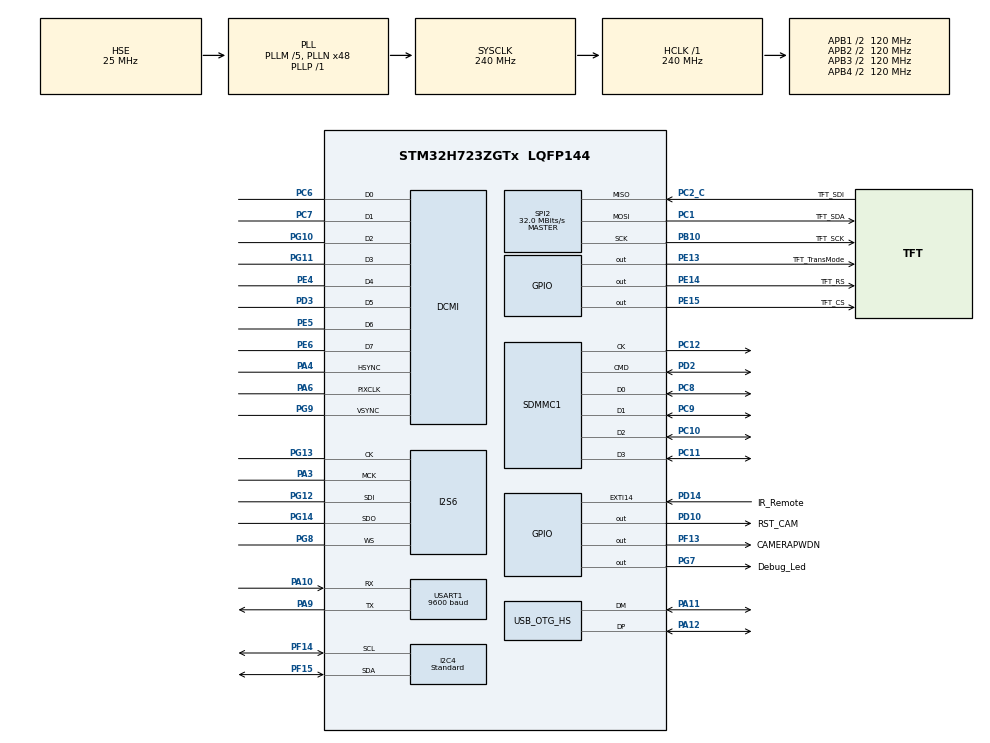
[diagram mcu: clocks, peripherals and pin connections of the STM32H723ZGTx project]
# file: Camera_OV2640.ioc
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Bdma.Request0=SPI6_TX
Bdma.RequestsNb=1
Bdma.SPI6_TX.0.Direction=DMA_MEMORY_TO_PERIPH
Bdma.SPI6_TX.0.EventEnable=DISABLE
Bdma.SPI6_TX.0.Instance=BDMA_Channel0
Bdma.SPI6_TX.0.MemDataAlignment=DMA_MDATAALIGN_HALFWORD
Bdma.SPI6_TX.0.MemInc=DMA_MINC_ENABLE
Bdma.SPI6_TX.0.Mode=DMA_CIRCULAR
Bdma.SPI6_TX.0.PeriphDataAlignment=DMA_PDATAALIGN_HALFWORD
Bdma.SPI6_TX.0.PeriphInc=DMA_PINC_DISABLE
Bdma.SPI6_TX.0.Polarity=HAL_DMAMUX_REQ_GEN_RISING
Bdma.SPI6_TX.0.Priority=DMA_PRIORITY_LOW
Bdma.SPI6_TX.0.RequestNumber=1
Bdma.SPI6_TX.0.SignalID=NONE
Bdma.SPI6_TX.0.SyncEnable=DISABLE
Bdma.SPI6_TX.0.SyncPolarity=HAL_DMAMUX_SYNC_NO_EVENT
Bdma.SPI6_TX.0.SyncRequestNumber=1
Bdma.SPI6_TX.0.SyncSignalID=NONE
CORTEX_M7.default_mode_Activation=1
DCMI.ByteSelectMode=DCMI_BSM_ALL
DCMI.CaptureRate=DCMI_CR_ALL_FRAME
DCMI.HSPolarity=DCMI_HSPOLARITY_LOW
DCMI.PCKPolarity=DCMI_PCKPOLARITY_RISING
DCMI.VSPolarity=DCMI_VSPOLARITY_LOW
Dma.DCMI.2.Direction=DMA_PERIPH_TO_MEMORY
Dma.DCMI.2.EventEnable=DISABLE
Dma.DCMI.2.FIFOMode=DMA_FIFOMODE_ENABLE
Dma.DCMI.2.FIFOThreshold=DMA_FIFO_THRESHOLD_FULL
Dma.DCMI.2.Instance=DMA1_Stream1
Dma.DCMI.2.MemBurst=DMA_MBURST_SINGLE
Dma.DCMI.2.MemDataAlignment=DMA_MDATAALIGN_WORD
Dma.DCMI.2.MemInc=DMA_MINC_ENABLE
Dma.DCMI.2.Mode=DMA_NORMAL
Dma.DCMI.2.PeriphBurst=DMA_PBURST_SINGLE
Dma.DCMI.2.PeriphDataAlignment=DMA_PDATAALIGN_WORD
Dma.DCMI.2.PeriphInc=DMA_PINC_DISABLE
Dma.DCMI.2.Polarity=HAL_DMAMUX_REQ_GEN_RISING
Dma.DCMI.2.Priority=DMA_PRIORITY_LOW
Dma.DCMI.2.RequestNumber=1
Dma.DCMI.2.SignalID=NONE
Dma.DCMI.2.SyncEnable=DISABLE
Dma.DCMI.2.SyncPolarity=HAL_DMAMUX_SYNC_NO_EVENT
Dma.DCMI.2.SyncRequestNumber=1
Dma.DCMI.2.SyncSignalID=NONE
Dma.Request0=SPI2_TX
Dma.Request1=USART1_RX
Dma.Request2=DCMI
Dma.SPI2_TX.0.Direction=DMA_MEMORY_TO_PERIPH
Dma.SPI2_TX.0.EventEnable=DISABLE
Dma.SPI2_TX.0.FIFOMode=DMA_FIFOMODE_DISABLE
Dma.SPI2_TX.0.Instance=DMA1_Stream3
Dma.SPI2_TX.0.MemDataAlignment=DMA_MDATAALIGN_BYTE
Dma.SPI2_TX.0.MemInc=DMA_MINC_ENABLE
Dma.SPI2_TX.0.Mode=DMA_NORMAL
Dma.SPI2_TX.0.PeriphDataAlignment=DMA_PDATAALIGN_BYTE
Dma.SPI2_TX.0.PeriphInc=DMA_PINC_DISABLE
Dma.SPI2_TX.0.Polarity=HAL_DMAMUX_REQ_GEN_RISING
Dma.SPI2_TX.0.Priority=DMA_PRIORITY_VERY_HIGH
Dma.SPI2_TX.0.RequestNumber=1
Dma.SPI2_TX.0.SignalID=NONE
Dma.SPI2_TX.0.SyncEnable=DISABLE
Dma.SPI2_TX.0.SyncPolarity=HAL_DMAMUX_SYNC_NO_EVENT
Dma.SPI2_TX.0.SyncRequestNumber=1
Dma.SPI2_TX.0.SyncSignalID=NONE
Dma.USART1_RX.1.Direction=DMA_PERIPH_TO_MEMORY
Dma.USART1_RX.1.EventEnable=DISABLE
Dma.USART1_RX.1.FIFOMode=DMA_FIFOMODE_DISABLE
Dma.USART1_RX.1.Instance=DMA1_Stream0
Dma.USART1_RX.1.MemDataAlignment=DMA_MDATAALIGN_BYTE
Dma.USART1_RX.1.MemInc=DMA_MINC_ENABLE
Dma.USART1_RX.1.Mode=DMA_NORMAL
Dma.USART1_RX.1.PeriphDataAlignment=DMA_PDATAALIGN_BYTE
Dma.USART1_RX.1.PeriphInc=DMA_PINC_DISABLE
Dma.USART1_RX.1.Polarity=HAL_DMAMUX_REQ_GEN_RISING
Dma.USART1_RX.1.Priority=DMA_PRIORITY_LOW
Dma.USART1_RX.1.RequestNumber=1
Dma.USART1_RX.1.SignalID=NONE
Dma.USART1_RX.1.SyncEnable=DISABLE
Dma.USART1_RX.1.SyncPolarity=HAL_DMAMUX_SYNC_NO_EVENT
Dma.USART1_RX.1.SyncRequestNumber=1
Dma.USART1_RX.1.SyncSignalID=NONE
FATFS._FS_TIMEOUT=0x2710
FATFS._MAX_SS=4096
FATFS._MULTI_PARTITION=0
FATFS._USE_CHMOD=0
FATFS._USE_LABEL=1
FATFS._USE_LFN=3
I2C4.Analog_Filter=I2C_ANALOGFILTER_ENABLE
I2C4.I2C_Fall_Time=2
I2C4.I2C_Rise_Time=2
I2C4.I2C_Speed_Mode=I2C_Standard
I2C4.Speed=100
I2C4.Timing=0x307075B1
I2S6.AudioFreq=I2S_AUDIOFREQ_16K
I2S6.ErrorAudioFreq=1.01 %
I2S6.Instance=SPI$Index
I2S6.RealAudioFreq=16.163 KHz
Mcu.Family=STM32H7
Mcu.Name=STM32H723ZGTx
Mcu.Package=LQFP144
NVIC.BDMA_Channel0_IRQn=true\:0\:0\:true\:false\:true\:false\:true\:true
NVIC.DCMI_PSSI_IRQn=true\:0\:0\:true\:false\:true\:true\:true\:true
NVIC.DMA1_Stream0_IRQn=true\:0\:0\:false\:false\:true\:false\:true\:true
NVIC.DMA1_Stream1_IRQn=true\:0\:0\:true\:false\:true\:false\:true\:true
NVIC.DMA1_Stream3_IRQn=true\:0\:0\:true\:false\:true\:false\:true\:true
NVIC.EXTI15_10_IRQn=true\:0\:0\:true\:false\:true\:true\:true\:true
NVIC.OTG_HS_IRQn=true\:0\:0\:false\:false\:true\:false\:true\:true
NVIC.PriorityGroup=NVIC_PRIORITYGROUP_4
NVIC.SDMMC1_IRQn=true\:0\:0\:true\:false\:true\:true\:true\:true
NVIC.SPI2_IRQn=true\:0\:0\:true\:false\:true\:false\:true\:true
NVIC.USART1_IRQn=true\:0\:0\:false\:false\:true\:true\:true\:true
PA10.Mode=Asynchronous
PA10.Signal=USART1_RX
PA11.Mode=Device_Only_FS
PA11.Signal=USB_OTG_HS_DM
PA12.Mode=Device_Only_FS
PA12.Signal=USB_OTG_HS_DP
PA13(JTMS/SWDIO).Mode=Serial_Wire
PA13(JTMS/SWDIO).Signal=DEBUG_JTMS-SWDIO
PA14(JTCK/SWCLK).Mode=Serial_Wire
PA14(JTCK/SWCLK).Signal=DEBUG_JTCK-SWCLK
PA3.Mode=Master_Clock_Activated
PA3.Signal=I2S6_MCK
PA4.GPIO_PuPd=GPIO_PULLUP
PA4.GPIO_Speed=GPIO_SPEED_FREQ_VERY_HIGH
PA4.Mode=Slave_8_bits_External_Synchro
PA4.Signal=DCMI_HSYNC
PA6.GPIO_PuPd=GPIO_PULLUP
PA6.GPIO_Speed=GPIO_SPEED_FREQ_VERY_HIGH
PA6.Mode=Slave_8_bits_External_Synchro
PA6.Signal=DCMI_PIXCLK
PA9.Mode=Asynchronous
PA9.Signal=USART1_TX
PB10.GPIO_Label=TFT_SCK
PB10.Mode=Full_Duplex_Master
PB10.Signal=SPI2_SCK
PC1.GPIO_Label=TFT_SDA
PC1.Mode=Full_Duplex_Master
PC1.Signal=SPI2_MOSI
PC10.Mode=SD_4_bits_Wide_bus
PC10.Signal=SDMMC1_D2
PC11.Mode=SD_4_bits_Wide_bus
PC11.Signal=SDMMC1_D3
PC12.Mode=SD_4_bits_Wide_bus
PC12.Signal=SDMMC1_CK
PC2_C.GPIO_Label=TFT_SDI
PC2_C.Mode=Full_Duplex_Master
PC2_C.Signal=SPI2_MISO
PC6.GPIO_PuPd=GPIO_PULLUP
PC6.GPIO_Speed=GPIO_SPEED_FREQ_VERY_HIGH
PC6.Mode=Slave_8_bits_External_Synchro
PC6.Signal=DCMI_D0
PC7.GPIO_PuPd=GPIO_PULLUP
PC7.GPIO_Speed=GPIO_SPEED_FREQ_VERY_HIGH
PC7.Mode=Slave_8_bits_External_Synchro
PC7.Signal=DCMI_D1
PC8.Mode=SD_4_bits_Wide_bus
PC8.Signal=SDMMC1_D0
PC9.Mode=SD_4_bits_Wide_bus
PC9.Signal=SDMMC1_D1
PD10.GPIO_Label=RST_CAM
PD10.GPIO_PuPd=GPIO_PULLUP
PD10.PinState=GPIO_PIN_SET
PD10.Signal=GPIO_Output
PD14.GPIO_Label=IR_Remote
PD14.GPIO_ModeDefaultEXTI=GPIO_MODE_IT_FALLING
PD14.GPIO_PuPd=GPIO_PULLUP
PD14.Signal=GPXTI14
PD2.Mode=SD_4_bits_Wide_bus
PD2.Signal=SDMMC1_CMD
PD3.GPIO_PuPd=GPIO_PULLUP
PD3.GPIO_Speed=GPIO_SPEED_FREQ_VERY_HIGH
PD3.Mode=Slave_8_bits_External_Synchro
PD3.Signal=DCMI_D5
PE13.GPIO_Label=TFT_TransMode
PE13.Signal=GPIO_Output
PE14.GPIO_Label=TFT_RS
PE14.Signal=GPIO_Output
PE15.GPIO_Label=TFT_CS
PE15.Signal=GPIO_Output
PE4.GPIO_PuPd=GPIO_PULLUP
PE4.GPIO_Speed=GPIO_SPEED_FREQ_VERY_HIGH
PE4.Mode=Slave_8_bits_External_Synchro
PE4.Signal=DCMI_D4
PE5.GPIO_PuPd=GPIO_PULLUP
PE5.GPIO_Speed=GPIO_SPEED_FREQ_VERY_HIGH
PE5.Mode=Slave_8_bits_External_Synchro
PE5.Signal=DCMI_D6
PE6.GPIO_PuPd=GPIO_PULLUP
PE6.GPIO_Speed=GPIO_SPEED_FREQ_VERY_HIGH
PE6.Mode=Slave_8_bits_External_Synchro
PE6.Signal=DCMI_D7
PF13.GPIO_Label=CAMERAPWDN
PF13.PinState=GPIO_PIN_RESET
PF13.Signal=GPIO_Output
PF14.GPIO_Pu=GPIO_PULLUP
PF14.GPIO_Speed=GPIO_SPEED_FREQ_VERY_HIGH
PF14.Mode=I2C
PF14.Signal=I2C4_SCL
PF15.GPIO_Pu=GPIO_PULLUP
PF15.GPIO_Speed=GPIO_SPEED_FREQ_VERY_HIGH
PF15.Mode=I2C
PF15.Signal=I2C4_SDA
PG10.GPIO_PuPd=GPIO_PULLUP
PG10.GPIO_Speed=GPIO_SPEED_FREQ_VERY_HIGH
PG10.Mode=Slave_8_bits_External_Synchro
PG10.Signal=DCMI_D2
PG11.GPIO_PuPd=GPIO_PULLUP
PG11.GPIO_Speed=GPIO_SPEED_FREQ_VERY_HIGH
PG11.Mode=Slave_8_bits_External_Synchro
PG11.Signal=DCMI_D3
PG12.Mode=Full_Duplex_Master
PG12.Signal=I2S6_SDI
PG13.Mode=Full_Duplex_Master
PG13.Signal=I2S6_CK
PG14.Mode=Full_Duplex_Master
PG14.Signal=I2S6_SDO
PG7.GPIO_Label=Debug_Led
PG7.Signal=GPIO_Output
PG8.Mode=Full_Duplex_Master
PG8.Signal=I2S6_WS
PG9.GPIO_PuPd=GPIO_PULLUP
PG9.GPIO_Speed=GPIO_SPEED_FREQ_VERY_HIGH
PG9.Mode=Slave_8_bits_External_Synchro
PG9.Signal=DCMI_VSYNC
PH0-OSC_IN.Mode=HSE-External-Oscillator
PH0-OSC_IN.Signal=RCC_OSC_IN
PH1-OSC_OUT.Mode=HSE-External-Oscillator
PH1-OSC_OUT.Signal=RCC_OSC_OUT
ProjectManager.HeapSize=0x200
ProjectManager.StackSize=0x400
ProjectManager.TargetToolchain=STM32CubeIDE
RCC.ADCFreq_Value=25000000
RCC.APB1Freq_Value=120000000
RCC.APB2Freq_Value=120000000
RCC.APB3Freq_Value=120000000
RCC.APB4Freq_Value=120000000
RCC.CortexFreq_Value=240000000
RCC.D1PPRE=RCC_APB3_DIV2
RCC.D2PPRE1=RCC_APB1_DIV2
RCC.D2PPRE2=RCC_APB2_DIV2
RCC.D3PPRE=RCC_APB4_DIV2
RCC.DIVM1=5
RCC.DIVM2=4
RCC.DIVM3=4
RCC.DIVN1=48
RCC.DIVN2=12
RCC.DIVN3=12
RCC.DIVP1=1
RCC.DIVP2=3
RCC.DIVP3=1
RCC.DIVQ1=5
RCC.DIVR2=1
RCC.HCLKFreq_Value=240000000
RCC.PLL2FRACN=0
RCC.PLL3FRACN=0
RCC.PLLFRACN=0
RCC.SPI123CLockSelection=RCC_SPI123CLKSOURCE_CLKP
RCC.SYSCLKFreq_VALUE=240000000
RCC.SYSCLKSource=RCC_SYSCLKSOURCE_PLLCLK
RCC.USBFreq_Value=48000000
SDMMC1.ClockDiv=2
SDMMC1.HardwareFlowControl=SDMMC_HARDWARE_FLOW_CONTROL_ENABLE
SDMMC1.TransceiverPresent=SDMMC_TRANSCEIVER_NOT_PRESENT
SPI2.BaudRatePrescaler=SPI_BAUDRATEPRESCALER_2
SPI2.CalculateBaudRate=32.0 MBits/s
SPI2.DataSize=SPI_DATASIZE_8BIT
SPI2.Direction=SPI_DIRECTION_2LINES
SPI2.FirstBit=SPI_FIRSTBIT_MSB
SPI2.Mode=SPI_MODE_MASTER
SPI2.NSSPMode=SPI_NSS_PULSE_DISABLE
SPI2.VirtualType=VM_MASTER
STMicroelectronics.X-CUBE-AI.10.2.0.HeapSize=0x800
STMicroelectronics.X-CUBE-AI.10.2.0.ReadyForCodeGeneration=false
STMicroelectronics.X-CUBE-AI.10.2.0.StackSize=0x800
TIM4.Prescaler=216
USART1.BaudRate=9600
USART1.VirtualMode-Asynchronous=VM_ASYNC
USB_DEVICE.CLASS_NAME_HS=CDC
USB_DEVICE.VirtualMode=Cdc
USB_DEVICE.VirtualModeHS=Cdc_HS
USB_OTG_HS.VirtualMode-Device_Only_FS=Device_Only_FS
VP_FATFS_VS_Generic.Mode=User_defined
VP_FATFS_VS_SDIO.Mode=SDIO
VP_MEMORYMAP_VS_MEMORYMAP.Mode=CurAppReg
VP_TIM4_VS_ClockSourceINT.Mode=Internal
VP_USB_DEVICE_VS_USB_DEVICE_CDC_HS.Mode=CDC_HS
board=custom

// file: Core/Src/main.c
/* USER CODE BEGIN Header */
/**
 ******************************************************************************
 * @file           : main.c
 * @brief          : Main program body
 ******************************************************************************
 * @attention
 *
 * Copyright (c) 2025 STMicroelectronics.
 * All rights reserved.
 *
 * This software is licensed under terms that can be found in the LICENSE file
 * in the root directory of this software component.
 * If no LICENSE file comes with this software, it is provided AS-IS.
 *
 ******************************************************************************
 */
/* USER CODE END Header */
#include "main.h"
#include "fatfs.h"
#include "usb_device.h"

/* USER CODE BEGIN Includes */
#include "display.h"
//#include "jpeg_lcd.h"
#include "sdio_benchmark.h"
#include "sdio_functions.h"
#include "wav_player.h"
#include "itr.h"
#include "ov2640.h"
#include "usbd_cdc_if.h"
/* USER CODE END Includes */

DCMI_HandleTypeDef hdcmi;
DMA_HandleTypeDef hdma_dcmi;

I2C_HandleTypeDef hi2c4;

I2S_HandleTypeDef hi2s6;
DMA_HandleTypeDef hdma_spi6_tx;

SD_HandleTypeDef hsd1;

SPI_HandleTypeDef hspi2;
DMA_HandleTypeDef hdma_spi2_tx;

TIM_HandleTypeDef htim4;

UART_HandleTypeDef huart1;
DMA_HandleTypeDef hdma_usart1_rx;

/* USER CODE BEGIN PV */
//For File browser and UART
uint8_t firmware_data[1024];
volatile uint8_t FileSelection = 0;
SDFile_Info FileListTree;
SDFile_Info *Current_Page;
//For image display
UINT br;
uint8_t image_id = 0;
volatile uint8_t IsPlayingContent = 0;
char path[256];
char SDFullName[256];
//For IR Remote control
uint32_t tempCode;
uint8_t bitIndex;
uint8_t cmd;
uint8_t cmdli;
uint32_t code;

extern volatile uint16_t FrameBuff[240][320];
//extern uint16_t FrameBuffB[240][320];
extern uint8_t Jpeg_frame[32768];
/* USER CODE END PV */

void SystemClock_Config(void);
void PeriphCommonClock_Config(void);
static void MPU_Config(void);
static void MX_GPIO_Init(void);
static void MX_DMA_Init(void);
static void MX_BDMA_Init(void);
static void MX_SPI2_Init(void);
static void MX_USART1_UART_Init(void);
static void MX_I2S6_Init(void);
static void MX_TIM4_Init(void);
static void MX_SDMMC1_SD_Init(void);
static void MX_DCMI_Init(void);
static void MX_I2C4_Init(void);
/* USER CODE BEGIN PFP */
static void IR_Control(uint32_t Ir_code);
/* USER CODE END PFP */

/* USER CODE BEGIN 0 */

int _write(int fd, unsigned char *buf, int len) {
	if (fd == 1 || fd == 2) {                              // stdout or stderr ?
		HAL_UART_Transmit(&huart1, buf, len, 999); // Print to the UART
	}
	return len;
}

// GPIO EXTI callbacks
void HAL_GPIO_EXTI_Callback(uint16_t GPIO_Pin) {
	UNUSED(GPIO_Pin);
	if (GPIO_Pin == IR_Remote_Pin) {
		if (__HAL_TIM_GET_COUNTER(&htim4) > 8000) {
			tempCode = 0;
			bitIndex = 0;
		} else if (__HAL_TIM_GET_COUNTER(&htim4) > 1700) {
			tempCode |= (1UL << (31 - bitIndex)); // write 1
			bitIndex++;
		} else if (__HAL_TIM_GET_COUNTER(&htim4) > 1000) {
			tempCode &= ~(1UL << (31 - bitIndex)); // write 0
			bitIndex++;
		}
		if (bitIndex == 32) {
			cmdli = ~tempCode;   // Logical inverted last 8 bits
			cmd = tempCode >> 8; // Second last 8 bits
			if (cmdli == cmd)    // Check for errors
					{
				code = tempCode; // If no bit errors
				// Do your main work HERE
				IR_Control(code);
			}
			bitIndex = 0;
		}
		__HAL_TIM_SET_COUNTER(&htim4, 0);
	}
}
// UART callbacks
void HAL_UARTEx_RxEventCallback(UART_HandleTypeDef *huart, uint16_t Size) {
	memset(firmware_data, 0, 1024);
	HAL_UARTEx_ReceiveToIdle_IT(&huart1, firmware_data, 1024);
}
volatile uint8_t done_flag = 0 ;
uint32_t line_cnt = 0;
void HAL_DCMI_VsyncEventCallback(DCMI_HandleTypeDef *hdcmi)
{
    /* Disable DCMI Camera interface */
	printf("Frame captured in vsync!\n");
	done_flag = 1;
	//HAL_DCMI_Suspend(&hdcmi);
	//LCD_DrawPixData(0, 0, 320, 240, FrameBuff);
	//HAL_DCMI_Resume(&hdcmi);
//    HAL_DCMI_Stop(&hdcmi);
    //LCD_DrawPixData(0, 0, 320, 240, FrameBuff);
    //HAL_DCMI_Start_DMA(&hdcmi, DCMI_MODE_SNAPSHOT, FrameBuff, 320*(240)/2);
}
void HAL_DCMI_FrameEventCallback(DCMI_HandleTypeDef *hdcmi) {
    printf("Frame captured!\n");

//    HAL_DCMI_Stop(&hdcmi);
//    memcpy(FrameBuff,FrameBuffB,sizeof(FrameBuffB));
   // LCD_DrawPixData(0, 0, 320, 240, FrameBuff);

    //HAL_DCMI_Start_DMA(&hdcmi, DCMI_MODE_CONTINUOUS, FrameBuff, 320*(240)/2);
    line_cnt = 0;
}
void HAL_DCMI_LineEventCallback(DCMI_HandleTypeDef *hdcmi){
	line_cnt++;
}
/* USER CODE END 0 */

int main(void)
{

  /* USER CODE BEGIN 1 */
	FIL video_f;

  /* USER CODE END 1 */

  /* MPU Configuration--------------------------------------------------------*/
  MPU_Config();

  /* MCU Configuration--------------------------------------------------------*/

  /* Reset of all peripherals, Initializes the Flash interface and the Systick. */
  HAL_Init();

  /* Configure the system clock */
  SystemClock_Config();

  /* Configure the peripherals common clocks */
  PeriphCommonClock_Config();

  /* Initialize all configured peripherals */
  MX_GPIO_Init();
  MX_DMA_Init();
  MX_BDMA_Init();
  MX_FATFS_Init();
  MX_SPI2_Init();
  MX_USART1_UART_Init();
  MX_I2S6_Init();
  MX_TIM4_Init();
  MX_SDMMC1_SD_Init();
  MX_DCMI_Init();
  MX_I2C4_Init();
  MX_USB_DEVICE_Init();
  /* USER CODE BEGIN 2 */
	// System peripheral
	for(int i = 0;i < 240;i++){
		memset(FrameBuff[i],0,320*2);
	}
//	HAL_TIM_Base_Start(&htim4);
//	__HAL_TIM_SET_COUNTER(&htim4, 0);
//	HAL_UARTEx_ReceiveToIdle_IT(&huart1, firmware_data, 1024);
	// User playground
	// For display
    uint16_t* p_lcdData = FrameBuff;

    HAL_Delay(3000);

	LCD_Init(&hspi2, &IsPlayingContent, 1);
	LCD_AdjustGamma();
	LCD_FillScreen(0x0000, 320, 240);
	Itr_InitSPICBFunc(LCD_SPI_TxCpltCb, LCD_SPI_TxRxCpltCb);

	// Camera OV2640
    ov2640_Init(0x60, CAMERA_Monitor);
    HAL_DCMI_Start_DMA(&hdcmi, DCMI_MODE_SNAPSHOT, (uint32_t)FrameBuff, 320*240/2);

#define IDLEx
	// For SD card
//	while (1) {
//		if (sdio_mount() == FR_OK) {
//			break;
//		}
//	}
//	HAL_Delay(2000);
//	IsPlayingContent = 0;
//	sdio_list_files(&FileListTree);
	//print_directory(FileListTree.Directory_Ptr, 0, FileListTree.childCount);
//	Itr_InitI2SCBFunc(Audio_I2S_TxHalfCb, Audio_I2S_TxCpltCb);
//	LCD_DisplayBMP("0:/image/image2_rgb888_320x240.bmp");

#ifndef IDLEx
	Itr_InitI2SCBFunc(Audio_I2S_TxHalfCb, Audio_I2S_TxCpltCb);
	Itr_InitSPICBFunc(LCD_SPI_TxCpltCb, LCD_SPI_TxRxCpltCb);
//	 For File browser
	/*Point to root page*/

	memset(path,0,256);
	memset(SDFullName,0,256);
	strcat(path,"0:/");

	Current_Page = FileListTree.Directory_Ptr;
	Browser_Init(&Current_Page);

#endif
  /* USER CODE END 2 */

  /* Infinite loop */
  /* USER CODE BEGIN WHILE */
	uint32_t now = 0;
	uint32_t next = 2000;
	while (1) {
		now = HAL_GetTick();
		if(done_flag == 1){
			//HAL_Delay(1);
			HAL_DCMI_Stop(&hdcmi);
			LCD_DrawPixData(0, 0, 320, 240, FrameBuff);
			HAL_DCMI_Start_DMA(&hdcmi, DCMI_MODE_SNAPSHOT, FrameBuff, 320*240/2);
			done_flag = 0;
		}
//		if (now > next) {
//			CDC_Transmit_HS("xuantruong\n", 11);
//			next += 2000;
//		}

    /* USER CODE END WHILE */

	}
}

void SystemClock_Config(void)
{
  RCC_OscInitTypeDef RCC_OscInitStruct = {0};
  RCC_ClkInitTypeDef RCC_ClkInitStruct = {0};

  /** Supply configuration update enable
  */
  HAL_PWREx_ConfigSupply(PWR_LDO_SUPPLY);

  /** Configure the main internal regulator output voltage
  */
  __HAL_PWR_VOLTAGESCALING_CONFIG(PWR_REGULATOR_VOLTAGE_SCALE0);

  while(!__HAL_PWR_GET_FLAG(PWR_FLAG_VOSRDY)) {}

  /** Initializes the RCC Oscillators according to the specified parameters
  * in the RCC_OscInitTypeDef structure.
  */
  RCC_OscInitStruct.OscillatorType = RCC_OSCILLATORTYPE_HSI|RCC_OSCILLATORTYPE_HSE;
  RCC_OscInitStruct.HSEState = RCC_HSE_ON;
  RCC_OscInitStruct.HSIState = RCC_HSI_DIV1;
  RCC_OscInitStruct.HSICalibrationValue = 64;
  RCC_OscInitStruct.PLL.PLLState = RCC_PLL_ON;
  RCC_OscInitStruct.PLL.PLLSource = RCC_PLLSOURCE_HSE;
  RCC_OscInitStruct.PLL.PLLM = 5;
  RCC_OscInitStruct.PLL.PLLN = 48;
  RCC_OscInitStruct.PLL.PLLP = 1;
  RCC_OscInitStruct.PLL.PLLQ = 5;
  RCC_OscInitStruct.PLL.PLLR = 2;
  RCC_OscInitStruct.PLL.PLLRGE = RCC_PLL1VCIRANGE_2;
  RCC_OscInitStruct.PLL.PLLVCOSEL = RCC_PLL1VCOWIDE;
  RCC_OscInitStruct.PLL.PLLFRACN = 0;
  if (HAL_RCC_OscConfig(&RCC_OscInitStruct) != HAL_OK)
  {
    Error_Handler();
  }

  /** Initializes the CPU, AHB and APB buses clocks
  */
  RCC_ClkInitStruct.ClockType = RCC_CLOCKTYPE_HCLK|RCC_CLOCKTYPE_SYSCLK
                              |RCC_CLOCKTYPE_PCLK1|RCC_CLOCKTYPE_PCLK2
                              |RCC_CLOCKTYPE_D3PCLK1|RCC_CLOCKTYPE_D1PCLK1;
  RCC_ClkInitStruct.SYSCLKSource = RCC_SYSCLKSOURCE_PLLCLK;
  RCC_ClkInitStruct.SYSCLKDivider = RCC_SYSCLK_DIV1;
  RCC_ClkInitStruct.AHBCLKDivider = RCC_HCLK_DIV1;
  RCC_ClkInitStruct.APB3CLKDivider = RCC_APB3_DIV2;
  RCC_ClkInitStruct.APB1CLKDivider = RCC_APB1_DIV2;
  RCC_ClkInitStruct.APB2CLKDivider = RCC_APB2_DIV2;
  RCC_ClkInitStruct.APB4CLKDivider = RCC_APB4_DIV2;

  if (HAL_RCC_ClockConfig(&RCC_ClkInitStruct, FLASH_LATENCY_3) != HAL_OK)
  {
    Error_Handler();
  }
}

void PeriphCommonClock_Config(void)
{
  RCC_PeriphCLKInitTypeDef PeriphClkInitStruct = {0};

  /** Initializes the peripherals clock
  */
  PeriphClkInitStruct.PeriphClockSelection = RCC_PERIPHCLK_CKPER;
  PeriphClkInitStruct.CkperClockSelection = RCC_CLKPSOURCE_HSI;
  if (HAL_RCCEx_PeriphCLKConfig(&PeriphClkInitStruct) != HAL_OK)
  {
    Error_Handler();
  }
}

static void MX_DCMI_Init(void)
{

  hdcmi.Instance = DCMI;
  hdcmi.Init.SynchroMode = DCMI_SYNCHRO_HARDWARE;
  hdcmi.Init.PCKPolarity = DCMI_PCKPOLARITY_RISING;
  hdcmi.Init.VSPolarity = DCMI_VSPOLARITY_LOW;
  hdcmi.Init.HSPolarity = DCMI_HSPOLARITY_LOW;
  hdcmi.Init.CaptureRate = DCMI_CR_ALL_FRAME;
  hdcmi.Init.ExtendedDataMode = DCMI_EXTEND_DATA_8B;
  hdcmi.Init.JPEGMode = DCMI_JPEG_DISABLE;
  hdcmi.Init.ByteSelectMode = DCMI_BSM_ALL;
  hdcmi.Init.ByteSelectStart = DCMI_OEBS_ODD;
  hdcmi.Init.LineSelectMode = DCMI_LSM_ALL;
  hdcmi.Init.LineSelectStart = DCMI_OELS_ODD;
  if (HAL_DCMI_Init(&hdcmi) != HAL_OK)
  {
    Error_Handler();
  }

}

static void MX_I2C4_Init(void)
{

  hi2c4.Instance = I2C4;
  hi2c4.Init.Timing = 0x307075B1;
  hi2c4.Init.OwnAddress1 = 0;
  hi2c4.Init.AddressingMode = I2C_ADDRESSINGMODE_7BIT;
  hi2c4.Init.DualAddressMode = I2C_DUALADDRESS_DISABLE;
  hi2c4.Init.OwnAddress2 = 0;
  hi2c4.Init.OwnAddress2Masks = I2C_OA2_NOMASK;
  hi2c4.Init.GeneralCallMode = I2C_GENERALCALL_DISABLE;
  hi2c4.Init.NoStretchMode = I2C_NOSTRETCH_DISABLE;
  if (HAL_I2C_Init(&hi2c4) != HAL_OK)
  {
    Error_Handler();
  }

  /** Configure Analogue filter
  */
  if (HAL_I2CEx_ConfigAnalogFilter(&hi2c4, I2C_ANALOGFILTER_ENABLE) != HAL_OK)
  {
    Error_Handler();
  }

  /** Configure Digital filter
  */
  if (HAL_I2CEx_ConfigDigitalFilter(&hi2c4, 0) != HAL_OK)
  {
    Error_Handler();
  }

}

static void MX_I2S6_Init(void)
{

  hi2s6.Instance = SPI6;
  hi2s6.Init.Mode = I2S_MODE_MASTER_FULLDUPLEX;
  hi2s6.Init.Standard = I2S_STANDARD_PHILIPS;
  hi2s6.Init.DataFormat = I2S_DATAFORMAT_16B;
  hi2s6.Init.MCLKOutput = I2S_MCLKOUTPUT_ENABLE;
  hi2s6.Init.AudioFreq = I2S_AUDIOFREQ_16K;
  hi2s6.Init.CPOL = I2S_CPOL_LOW;
  hi2s6.Init.FirstBit = I2S_FIRSTBIT_MSB;
  hi2s6.Init.WSInversion = I2S_WS_INVERSION_DISABLE;
  hi2s6.Init.Data24BitAlignment = I2S_DATA_24BIT_ALIGNMENT_RIGHT;
  hi2s6.Init.MasterKeepIOState = I2S_MASTER_KEEP_IO_STATE_DISABLE;
  if (HAL_I2S_Init(&hi2s6) != HAL_OK)
  {
    Error_Handler();
  }

}

static void MX_SDMMC1_SD_Init(void)
{

  hsd1.Instance = SDMMC1;
  hsd1.Init.ClockEdge = SDMMC_CLOCK_EDGE_RISING;
  hsd1.Init.ClockPowerSave = SDMMC_CLOCK_POWER_SAVE_DISABLE;
  hsd1.Init.BusWide = SDMMC_BUS_WIDE_4B;
  hsd1.Init.HardwareFlowControl = SDMMC_HARDWARE_FLOW_CONTROL_ENABLE;
  hsd1.Init.ClockDiv = 2;
  if (HAL_SD_Init(&hsd1) != HAL_OK)
  {
    Error_Handler();
  }

}

static void MX_SPI2_Init(void)
{

  /* SPI2 parameter configuration*/
  hspi2.Instance = SPI2;
  hspi2.Init.Mode = SPI_MODE_MASTER;
  hspi2.Init.Direction = SPI_DIRECTION_2LINES;
  hspi2.Init.DataSize = SPI_DATASIZE_8BIT;
  hspi2.Init.CLKPolarity = SPI_POLARITY_LOW;
  hspi2.Init.CLKPhase = SPI_PHASE_1EDGE;
  hspi2.Init.NSS = SPI_NSS_SOFT;
  hspi2.Init.BaudRatePrescaler = SPI_BAUDRATEPRESCALER_2;
  hspi2.Init.FirstBit = SPI_FIRSTBIT_MSB;
  hspi2.Init.TIMode = SPI_TIMODE_DISABLE;
  hspi2.Init.CRCCalculation = SPI_CRCCALCULATION_DISABLE;
  hspi2.Init.CRCPolynomial = 0x0;
  hspi2.Init.NSSPMode = SPI_NSS_PULSE_DISABLE;
  hspi2.Init.NSSPolarity = SPI_NSS_POLARITY_LOW;
  hspi2.Init.FifoThreshold = SPI_FIFO_THRESHOLD_01DATA;
  hspi2.Init.TxCRCInitializationPattern = SPI_CRC_INITIALIZATION_ALL_ZERO_PATTERN;
  hspi2.Init.RxCRCInitializationPattern = SPI_CRC_INITIALIZATION_ALL_ZERO_PATTERN;
  hspi2.Init.MasterSSIdleness = SPI_MASTER_SS_IDLENESS_00CYCLE;
  hspi2.Init.MasterInterDataIdleness = SPI_MASTER_INTERDATA_IDLENESS_00CYCLE;
  hspi2.Init.MasterReceiverAutoSusp = SPI_MASTER_RX_AUTOSUSP_DISABLE;
  hspi2.Init.MasterKeepIOState = SPI_MASTER_KEEP_IO_STATE_DISABLE;
  hspi2.Init.IOSwap = SPI_IO_SWAP_DISABLE;
  if (HAL_SPI_Init(&hspi2) != HAL_OK)
  {
    Error_Handler();
  }

}

static void MX_TIM4_Init(void)
{

  TIM_ClockConfigTypeDef sClockSourceConfig = {0};
  TIM_MasterConfigTypeDef sMasterConfig = {0};

  htim4.Instance = TIM4;
  htim4.Init.Prescaler = 216;
  htim4.Init.CounterMode = TIM_COUNTERMODE_UP;
  htim4.Init.Period = 65535;
  htim4.Init.ClockDivision = TIM_CLOCKDIVISION_DIV1;
  htim4.Init.AutoReloadPreload = TIM_AUTORELOAD_PRELOAD_DISABLE;
  if (HAL_TIM_Base_Init(&htim4) != HAL_OK)
  {
    Error_Handler();
  }
  sClockSourceConfig.ClockSource = TIM_CLOCKSOURCE_INTERNAL;
  if (HAL_TIM_ConfigClockSource(&htim4, &sClockSourceConfig) != HAL_OK)
  {
    Error_Handler();
  }
  sMasterConfig.MasterOutputTrigger = TIM_TRGO_RESET;
  sMasterConfig.MasterSlaveMode = TIM_MASTERSLAVEMODE_DISABLE;
  if (HAL_TIMEx_MasterConfigSynchronization(&htim4, &sMasterConfig) != HAL_OK)
  {
    Error_Handler();
  }

}

static void MX_USART1_UART_Init(void)
{

  huart1.Instance = USART1;
  huart1.Init.BaudRate = 9600;
  huart1.Init.WordLength = UART_WORDLENGTH_8B;
  huart1.Init.StopBits = UART_STOPBITS_1;
  huart1.Init.Parity = UART_PARITY_NONE;
  huart1.Init.Mode = UART_MODE_TX_RX;
  huart1.Init.HwFlowCtl = UART_HWCONTROL_NONE;
  huart1.Init.OverSampling = UART_OVERSAMPLING_16;
  huart1.Init.OneBitSampling = UART_ONE_BIT_SAMPLE_DISABLE;
  huart1.Init.ClockPrescaler = UART_PRESCALER_DIV1;
  huart1.AdvancedInit.AdvFeatureInit = UART_ADVFEATURE_NO_INIT;
  if (HAL_UART_Init(&huart1) != HAL_OK)
  {
    Error_Handler();
  }
  if (HAL_UARTEx_SetTxFifoThreshold(&huart1, UART_TXFIFO_THRESHOLD_1_8) != HAL_OK)
  {
    Error_Handler();
  }
  if (HAL_UARTEx_SetRxFifoThreshold(&huart1, UART_RXFIFO_THRESHOLD_1_8) != HAL_OK)
  {
    Error_Handler();
  }
  if (HAL_UARTEx_DisableFifoMode(&huart1) != HAL_OK)
  {
    Error_Handler();
  }

}

static void MX_BDMA_Init(void)
{

  /* DMA controller clock enable */
  __HAL_RCC_BDMA_CLK_ENABLE();

  /* DMA interrupt init */
  /* BDMA_Channel0_IRQn interrupt configuration */
  HAL_NVIC_SetPriority(BDMA_Channel0_IRQn, 0, 0);
  HAL_NVIC_EnableIRQ(BDMA_Channel0_IRQn);

}

static void MX_DMA_Init(void)
{

  /* DMA controller clock enable */
  __HAL_RCC_DMA1_CLK_ENABLE();

  /* DMA interrupt init */
  /* DMA1_Stream0_IRQn interrupt configuration */
  HAL_NVIC_SetPriority(DMA1_Stream0_IRQn, 0, 0);
  HAL_NVIC_EnableIRQ(DMA1_Stream0_IRQn);
  /* DMA1_Stream1_IRQn interrupt configuration */
  HAL_NVIC_SetPriority(DMA1_Stream1_IRQn, 0, 0);
  HAL_NVIC_EnableIRQ(DMA1_Stream1_IRQn);
  /* DMA1_Stream3_IRQn interrupt configuration */
  HAL_NVIC_SetPriority(DMA1_Stream3_IRQn, 0, 0);
  HAL_NVIC_EnableIRQ(DMA1_Stream3_IRQn);

}

static void MX_GPIO_Init(void)
{
  GPIO_InitTypeDef GPIO_InitStruct = {0};

  /* GPIO Ports Clock Enable */
  __HAL_RCC_GPIOE_CLK_ENABLE();
  __HAL_RCC_GPIOH_CLK_ENABLE();
  __HAL_RCC_GPIOC_CLK_ENABLE();
  __HAL_RCC_GPIOA_CLK_ENABLE();
  __HAL_RCC_GPIOF_CLK_ENABLE();
  __HAL_RCC_GPIOB_CLK_ENABLE();
  __HAL_RCC_GPIOD_CLK_ENABLE();
  __HAL_RCC_GPIOG_CLK_ENABLE();

  /*Configure GPIO pin Output Level */
  HAL_GPIO_WritePin(CAMERAPWDN_GPIO_Port, CAMERAPWDN_Pin, GPIO_PIN_RESET);

  /*Configure GPIO pin Output Level */
  HAL_GPIO_WritePin(GPIOE, TFT_TransMode_Pin|TFT_RS_Pin|TFT_CS_Pin, GPIO_PIN_RESET);

  /*Configure GPIO pin Output Level */
  HAL_GPIO_WritePin(RST_CAM_GPIO_Port, RST_CAM_Pin, GPIO_PIN_SET);

  /*Configure GPIO pin Output Level */
  HAL_GPIO_WritePin(Debug_Led_GPIO_Port, Debug_Led_Pin, GPIO_PIN_RESET);

  /*Configure GPIO pin : CAMERAPWDN_Pin */
  GPIO_InitStruct.Pin = CAMERAPWDN_Pin;
  GPIO_InitStruct.Mode = GPIO_MODE_OUTPUT_PP;
  GPIO_InitStruct.Pull = GPIO_NOPULL;
  GPIO_InitStruct.Speed = GPIO_SPEED_FREQ_LOW;
  HAL_GPIO_Init(CAMERAPWDN_GPIO_Port, &GPIO_InitStruct);

  /*Configure GPIO pins : TFT_TransMode_Pin TFT_RS_Pin TFT_CS_Pin */
  GPIO_InitStruct.Pin = TFT_TransMode_Pin|TFT_RS_Pin|TFT_CS_Pin;
  GPIO_InitStruct.Mode = GPIO_MODE_OUTPUT_PP;
  GPIO_InitStruct.Pull = GPIO_NOPULL;
  GPIO_InitStruct.Speed = GPIO_SPEED_FREQ_LOW;
  HAL_GPIO_Init(GPIOE, &GPIO_InitStruct);

  /*Configure GPIO pin : RST_CAM_Pin */
  GPIO_InitStruct.Pin = RST_CAM_Pin;
  GPIO_InitStruct.Mode = GPIO_MODE_OUTPUT_PP;
  GPIO_InitStruct.Pull = GPIO_PULLUP;
  GPIO_InitStruct.Speed = GPIO_SPEED_FREQ_LOW;
  HAL_GPIO_Init(RST_CAM_GPIO_Port, &GPIO_InitStruct);

  /*Configure GPIO pin : IR_Remote_Pin */
  GPIO_InitStruct.Pin = IR_Remote_Pin;
  GPIO_InitStruct.Mode = GPIO_MODE_IT_FALLING;
  GPIO_InitStruct.Pull = GPIO_PULLUP;
  HAL_GPIO_Init(IR_Remote_GPIO_Port, &GPIO_InitStruct);

  /*Configure GPIO pin : Debug_Led_Pin */
  GPIO_InitStruct.Pin = Debug_Led_Pin;
  GPIO_InitStruct.Mode = GPIO_MODE_OUTPUT_PP;
  GPIO_InitStruct.Pull = GPIO_NOPULL;
  GPIO_InitStruct.Speed = GPIO_SPEED_FREQ_LOW;
  HAL_GPIO_Init(Debug_Led_GPIO_Port, &GPIO_InitStruct);

  /* EXTI interrupt init*/
  HAL_NVIC_SetPriority(IR_Remote_EXTI_IRQn, 0, 0);
  HAL_NVIC_EnableIRQ(IR_Remote_EXTI_IRQn);

}

/* USER CODE BEGIN 4 */
void IR_Control(uint32_t Ir_code) {

	switch (Ir_code) {
	case IR_CH_Minus:
		break;
	case IR_CH:
		break;
	case IR_CH_Plus:
		break;
	case IR_Prev:
		break;
	case IR_Next:
		break;
	case IR_Play_Pause: //Enter
		Browser_FileCtrl(IR_Play_Pause, FileSelection);
		IsPlayingContent = 1;
		break;
	case IR_Plus:
		FileSelection++;
		Browser_FileCtrl(IR_Plus, FileSelection);
		break;
	case IR_Minus:
		if (FileSelection > 0) {
			FileSelection--;
			Browser_FileCtrl(IR_Minus, FileSelection);
		}
		break;
	case IR_EQ: //Back
		if (IsPlayingContent == 0) {
			Back2PrevFolder(&Current_Page, &FileListTree, path);
		}
		printf("Back: %s\n", Current_Page->name);
		IsPlayingContent = 0;
		Browser_FileCtrl(IR_EQ, FileSelection);
		break;
	case IR_0:
		break;
	case IR_100_Plus:
		FileSelection = 18;
		Browser_FileCtrl(IR_100_Plus, FileSelection);
		break;
	case IR_200_Plus:
		break;
	case IR_1:
		break;
	case IR_2:
		break;
	case IR_3:
		break;
	case IR_4:
		break;
	case IR_5:
		break;
	case IR_6:
		break;
	case IR_7:
		break;
	case IR_8:
		break;
	case IR_9:
		break;
	default:
		break;
	}
}
/* USER CODE END 4 */

 /* MPU Configuration */

void MPU_Config(void)
{
  MPU_Region_InitTypeDef MPU_InitStruct = {0};

  /* Disables the MPU */
  HAL_MPU_Disable();

  /** Initializes and configures the Region and the memory to be protected
  */
  MPU_InitStruct.Enable = MPU_REGION_ENABLE;
  MPU_InitStruct.Number = MPU_REGION_NUMBER0;
  MPU_InitStruct.BaseAddress = 0x0;
  MPU_InitStruct.Size = MPU_REGION_SIZE_4GB;
  MPU_InitStruct.SubRegionDisable = 0x87;
  MPU_InitStruct.TypeExtField = MPU_TEX_LEVEL0;
  MPU_InitStruct.AccessPermission = MPU_REGION_NO_ACCESS;
  MPU_InitStruct.DisableExec = MPU_INSTRUCTION_ACCESS_DISABLE;
  MPU_InitStruct.IsShareable = MPU_ACCESS_SHAREABLE;
  MPU_InitStruct.IsCacheable = MPU_ACCESS_NOT_CACHEABLE;
  MPU_InitStruct.IsBufferable = MPU_ACCESS_NOT_BUFFERABLE;

  HAL_MPU_ConfigRegion(&MPU_InitStruct);
  /* Enables the MPU */
  HAL_MPU_Enable(MPU_PRIVILEGED_DEFAULT);

}

void Error_Handler(void)
{
	__disable_irq();
	while (1) {
	}
}
